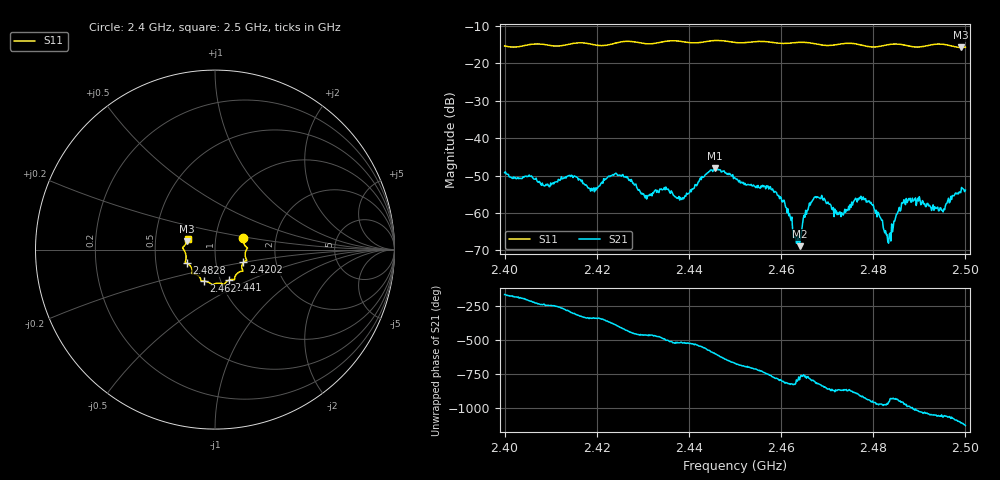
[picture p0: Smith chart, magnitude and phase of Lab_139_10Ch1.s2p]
# Hz S RI R 50
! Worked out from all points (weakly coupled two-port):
!   601 points, 2.4 GHz to 2.5 GHz, reference 50 ohm
!   highest |S21| = -48.11 dB at 2.4457 GHz (marker M1); lowest = -68.9 dB at 2.464 GHz (marker M2)
!   lowest |S11| = -15.8 dB at 2.499 GHz (marker M3), VSWR 1.39, Z = 36.4 + j3.49 ohm
!   |S11| at or under -10 dB: start of sweep to end of sweep
!   S12 and S22 are empty: the file has one direction only
!   S11 on the Smith chart (normalised r, x): 2.4 GHz: 1.36, +0.18; 2.4202 GHz: 1.36, -0.20; 2.441 GHz: 1.10, -0.39; 2.462 GHz: 0.84, -0.30; 2.4828 GHz: 0.72, -0.11; 2.5 GHz: 0.73, +0.09
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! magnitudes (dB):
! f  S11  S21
! 2.4 GHz  -15.4  -49.2
! 2.4167 GHz  -14.5  -51.6
! 2.4202 GHz  -15.2  -53.4
! 2.424 GHz  -14.6  -49.5
! 2.4305 GHz  -14.8  -56.0
! 2.4333 GHz  -14.5  -54.4
! 2.441 GHz  -14.6  -53.5
! 2.4457 GHz  -13.9  -48.1
! 2.45 GHz  -14.4  -50.7
! 2.4577 GHz  -14.4  -53.0
! 2.462 GHz  -14.6  -61.1
! 2.463 GHz  -14.5  -66.3
! 2.464 GHz  -14.4  -68.9
! 2.4667 GHz  -14.6  -57.1
! 2.473 GHz  -14.8  -61.0
! 2.4778 GHz  -15.3  -55.7
! 2.4828 GHz  -15.1  -65.8
! 2.4833 GHz  -15.0  -68.1
! 2.4867 GHz  -15.1  -56.5
! 2.4947 GHz  -14.9  -58.7
! 2.499 GHz  -15.8  -54.6
! 2.5 GHz  -15.7  -53.9
